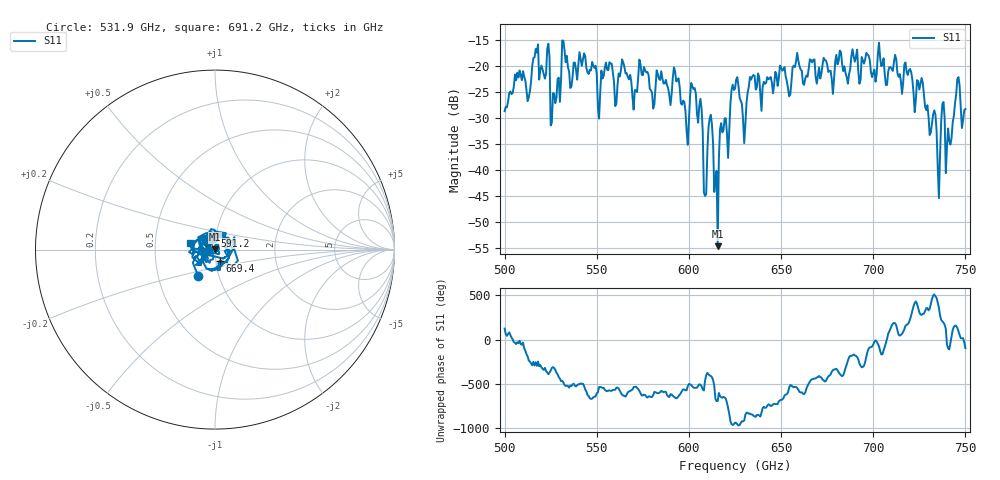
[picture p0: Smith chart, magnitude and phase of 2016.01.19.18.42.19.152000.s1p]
!Created with skrf (http://scikit-rf.org).
# GHz S RI R 50.0
!freq ReS11 ImS11
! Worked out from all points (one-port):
!   401 points, 500 GHz to 750 GHz, reference 50 ohm
!   lowest |S11| = -54.6 dB at 615.6 GHz (marker M1), VSWR 1.00, Z = 50.2 + j0.092 ohm
!   |S11| at or under -10 dB: start of sweep to end of sweep
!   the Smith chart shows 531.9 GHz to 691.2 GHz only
!   S11 on the Smith chart (normalised r, x): 531.9 GHz: 0.80, -0.25; 591.2 GHz: 0.99, +0.15; 669.4 GHz: 1.05, -0.13; 691.2 GHz: 0.75, +0.06
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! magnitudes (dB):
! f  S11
! 500 GHz  -28.6
! 513.1 GHz  -26.0
! 516.9 GHz  -16.7
! 523.1 GHz  -16.6
! 526.2 GHz  -25.2
! 531.2 GHz  -15.0
! 531.9 GHz  -15.1
! 551.9 GHz  -25.1
! 562.5 GHz  -22.0
! 591.2 GHz  -22.2
! 593.8 GHz  -22.7
! 598.8 GHz  -32.5
! 602.5 GHz  -24.4
! 608.8 GHz  -44.9
! 611.9 GHz  -29.3
! 614.4 GHz  -41.4
! 615.6 GHz  -54.6
! 625 GHz  -24.3
! 630 GHz  -34.8
! 634.4 GHz  -22.0
! 656.2 GHz  -20.2
! 669.4 GHz  -23.3
! 687.5 GHz  -20.6
! 691.2 GHz  -16.8
! 718.8 GHz  -21.7
! 735.6 GHz  -45.4
! 745.6 GHz  -22.4
! 750 GHz  -28.2
